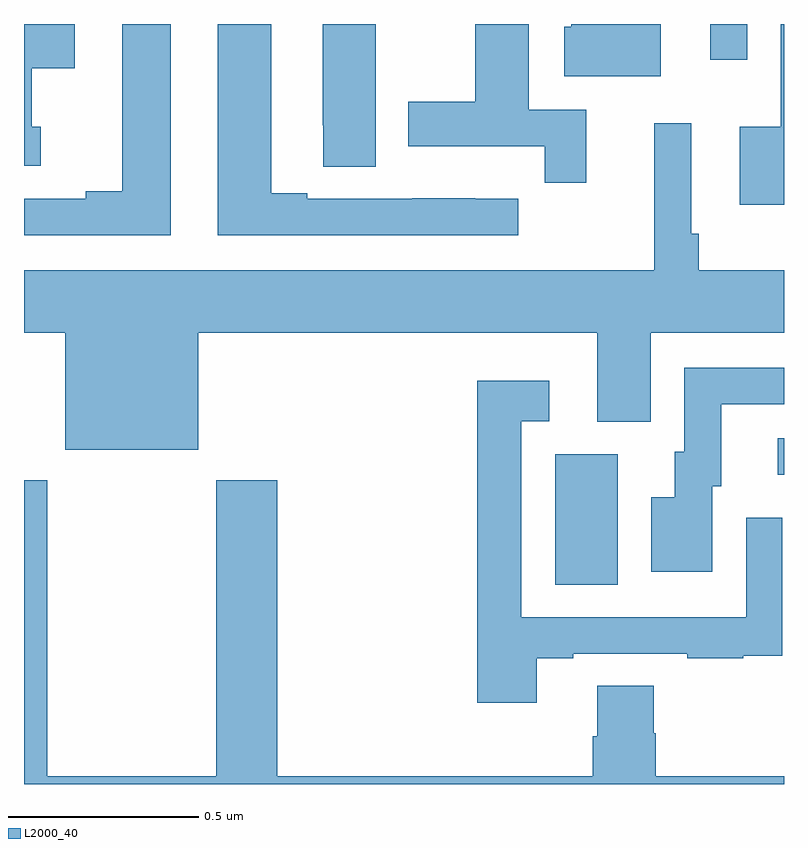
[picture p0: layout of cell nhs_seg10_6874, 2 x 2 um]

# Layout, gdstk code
import gdstk
lib = gdstk.Library(unit=1e-6, precision=1e-09)
def R(c, l, rs):  # rectangles x0, y0, x1, y1
    for r in rs: c.add(gdstk.rectangle(r[:2], r[2:], *l))
def P(c, l, *ps):  # polygons
    for p in ps: c.add(gdstk.Polygon(p, *l))
L2000_40 = (2000, 40)

nhs_seg10_6874 = lib.new_cell('nhs_seg10_6874')
R(nhs_seg10_6874, L2000_40, [(198.398,1261.024,198.562,1261.368), (198.984,1261.314,199,1261.41), (198.806,1262.406,198.903,1262.5)])
P(nhs_seg10_6874, L2000_40, [(197.926,1262.5),(197.786,1262.5),(197.786,1262.233),(197.787,1262.233),(197.787,1262.125),(197.926,1262.125)],
  [(199,1262.5),(198.991,1262.5),(198.991,1262.23),(198.884,1262.23),(198.884,1262.024),(199,1262.024)],
  [(197.044,1262.229),(197.02,1262.229),(197.02,1262.384),(197.134,1262.384),(197.134,1262.5),(197,1262.5),(197,1262.127),(197.044,1262.127)],
  [(198.479,1262.274),(198.328,1262.274),(198.328,1262.5),(198.188,1262.5),(198.188,1262.295),(198.011,1262.295),(198.011,1262.178),(198.37,1262.178),(198.37,1262.082),(198.479,1262.082)],
  [(198.301,1262.04),(198.188,1262.04),(198.188,1262.041),(198.022,1262.041),(198.022,1262.04),(197.746,1262.04),(197.746,1262.055),(197.65,1262.055),(197.65,1262.5),(197.51,1262.5),(197.51,1261.944),(198.301,1261.944)],
  [(198.676,1262.5),(198.44,1262.5),(198.44,1262.493),(198.422,1262.493),(198.422,1262.363),(198.676,1262.363)],
  [(197.386,1262.5),(197.258,1262.5),(197.258,1262.06),(197.162,1262.06),(197.162,1262.04),(197,1262.04),(197,1261.944),(197.386,1261.944)],
  [(197.458,1261.688),(198.509,1261.688),(198.509,1261.453),(198.649,1261.453),(198.649,1261.688),(199,1261.688),(199,1261.852),(198.776,1261.852),(198.776,1261.948),(198.756,1261.948),(198.756,1262.239),(198.659,1262.239),(198.659,1261.852),(197,1261.852),(197,1261.688),(197.108,1261.688),(197.108,1261.379),(197.458,1261.379)],
  [(198.811,1261.284),(198.835,1261.284),(198.835,1261.5),(199,1261.5),(199,1261.596),(198.738,1261.596),(198.738,1261.374),(198.713,1261.374),(198.713,1261.255),(198.65,1261.255),(198.65,1261.059),(198.811,1261.059)],
  [(198.349,1260.831),(198.445,1260.831),(198.445,1260.843),(198.745,1260.843),(198.745,1260.831),(198.893,1260.831),(198.893,1260.837),(198.995,1260.837),(198.995,1260.946),(198.996,1260.946),(198.996,1261.201),(198.9,1261.201),(198.9,1260.939),(198.309,1260.939),(198.309,1261.455),(198.382,1261.455),(198.382,1261.561),(198.193,1261.561),(198.193,1260.714),(198.349,1260.714)],
  [(199,1260.52),(198.662,1260.52),(198.662,1260.633),(198.657,1260.633),(198.657,1260.758),(198.509,1260.758),(198.509,1260.626),(198.497,1260.626),(198.497,1260.52),(197.666,1260.52),(197.666,1261.3),(197.506,1261.3),(197.506,1260.52),(197.061,1260.52),(197.061,1261.3),(197,1261.3),(197,1260.5),(199,1260.5)])

lib.write_gds('nhs_seg10_6874.gds')
